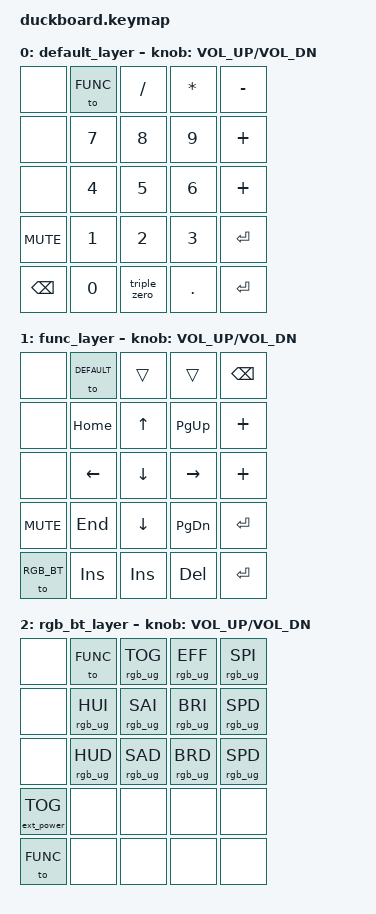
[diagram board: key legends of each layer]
/* Copyright (c) 2020 The ZMK Contributors
 * SPDX-License-Identifier: MIT
 *
 * Author: Edited from Jack Hartstein
 */

#include <behaviors.dtsi>
#include <dt-bindings/zmk/keys.h>
#include <dt-bindings/zmk/rgb.h>
#include <dt-bindings/zmk/bt.h>
#include <dt-bindings/zmk/ext_power.h>
#include <dt-bindings/zmk/outputs.h>
#include <dt-bindings/led/led.h>

#define DEFAULT 0
#define FUNC 1
#define RGB_BT 2

#define TIMEOUT 200

/ {

    macros {
            triple_zero: triple_zero {
                label = "triple_zero";
                compatible = "zmk,behavior-macro";
                #binding-cells = <0>;
                wait-ms = <40>;
                tap-ms = <40>;
                bindings = <&kp NUMBER_0>, <&kp NUMBER_0>, <&kp NUMBER_0>;
            };
        };
    
    combos {
        compatible = "zmk,combos";
        combo_bootloader {
            timeout-ms = <TIMEOUT>;
            key-positions = <1 4>;
            bindings = <&bootloader>;
        };
        combo_reset {
            timeout-ms = <TIMEOUT>;
            key-positions = <1 3>;
            bindings = <&reset>;
        };

        combo_btnxt {
            timeout-ms = <TIMEOUT>;
            key-positions = <1 6>;
            bindings = <&bt BT_NXT>;
            layers = <2>;
        };
        combo_btprv {
            timeout-ms = <TIMEOUT>;
            key-positions = <1 7>;
            bindings = <&bt BT_PRV>;
            layers = <2>;
        };
        combo_btclr {
            timeout-ms = <TIMEOUT>;
            key-positions = <1 8>;
            bindings = <&bt BT_CLR>;
            layers = <2>;
        };

        combo_prtsc {
            timeout-ms = <TIMEOUT>;
            key-positions = <1 11>;
            bindings = <&kp PRINTSCREEN>;
            layers = <1>;
        };
        combo_pause {
            timeout-ms = <TIMEOUT>;
            key-positions = <1 13>;
            bindings = <&kp PAUSE_BREAK>;
            layers = <1>;
        };

        combo_layer0 {
            timeout-ms = <TIMEOUT>;
            key-positions = <1 16>;
            bindings = <&to DEFAULT>;
        };
        combo_layer1 {
            timeout-ms = <TIMEOUT>;
            key-positions = <1 17>;
            bindings = <&to FUNC>;
        };
        combo_layer2 {
            timeout-ms = <TIMEOUT>;
            key-positions = <1 18>;
            bindings = <&to RGB_BT>;
        };

        combo_rgb {
            timeout-ms = <TIMEOUT>;
            key-positions = <1 22>;
            bindings = <&rgb_ug RGB_TOG>;
        };        
    };
    
    keymap {
        compatible = "zmk,keymap";
        
        default_layer {
            bindings = <
                &none           &to FUNC       &kp SLASH      &kp ASTERISK    &kp MINUS
                &none           &kp NUMBER_7   &kp NUMBER_8   &kp NUMBER_9    &kp PLUS
                &none           &kp NUMBER_4   &kp NUMBER_5   &kp NUMBER_6    &kp PLUS
                &kp C_MUTE      &kp NUMBER_1   &kp NUMBER_2   &kp NUMBER_3    &kp ENTER
                &kp BACKSPACE   &kp NUMBER_0   &triple_zero   &kp DOT         &kp ENTER
            >;

            sensor-bindings = <&inc_dec_kp C_VOL_UP C_VOL_DN>;
        };

         func_layer {
             bindings = <
                &none           &to DEFAULT    &trans        &trans          &kp BACKSPACE
                &none           &kp HOME       &kp UP        &kp PG_UP       &kp PLUS
                &none           &kp LEFT       &kp DOWN      &kp RIGHT       &kp PLUS
                &kp C_MUTE      &kp END        &kp DOWN      &kp PG_DN       &kp ENTER
                &to RGB_BT      &kp INS        &kp INS       &kp DEL         &kp ENTER
            >;

            sensor-bindings = <&inc_dec_kp C_VOL_UP C_VOL_DN>;
         };

         rgb_bt_layer {
             bindings = <
                &none              &to FUNC         &rgb_ug RGB_TOG  &rgb_ug RGB_EFF  &rgb_ug RGB_SPI
                &none              &rgb_ug RGB_HUI  &rgb_ug RGB_SAI  &rgb_ug RGB_BRI  &rgb_ug RGB_SPD
                &none              &rgb_ug RGB_HUD  &rgb_ug RGB_SAD  &rgb_ug RGB_BRD  &rgb_ug RGB_SPD
                &ext_power EP_TOG  &none            &none            &none            &none
                &to FUNC           &none            &none            &none            &none
            >;

            sensor-bindings = <&inc_dec_kp C_VOL_UP C_VOL_DN>;
         };
    };
};
